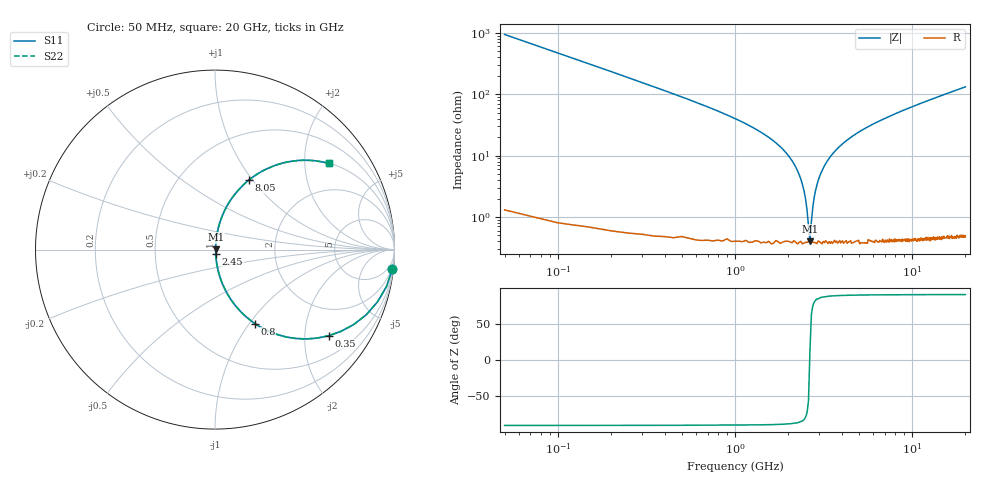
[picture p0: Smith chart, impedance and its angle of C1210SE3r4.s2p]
! AVX Thin Film Operation		Date: April 2012
! Description: Accu-P® Series, Thin Film, SMD, RF Capacitor
! Part Number: 12101J3R4ABTTR
!	100	MHz	-	20.05	GHz
!	Serial	Measurements
#	MHZ	S	MA	R	50
!	S11	S21	S12	S22
!	dB	Phase	dB	Phase	dB	Phase	dB	Phase
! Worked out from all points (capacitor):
!   400 points, 50 MHz to 20 GHz, reference 50 ohm
!   read as one part in series: C = 3.4 pF near 150 MHz
!   lowest |Z| = 405 mohm at 2.65 GHz (marker M1)
!   series resonance near 2.644 GHz, so ESL is about 1.1 nH
!   S11 on the Smith chart (normalised r, x): 50 MHz: 1, -19; 350 MHz: 1.01, -2.63; 800 MHz: 1.01, -1.06; 2.45 GHz: 1.01, -0.05; 8.05 GHz: 1.01, +0.96; 20 GHz: 1.01, +2.63
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50  0.994 -6.1  0.106 83.8  0.106 83.8  0.994 -6.1
100  0.978 -12.1  0.209 77.8  0.209 77.8  0.978 -12.1
150  0.951 -17.8  0.306 72.1  0.306 72.1  0.951 -17.8
350  0.794 -37.2  0.605 52.6  0.605 52.6  0.794 -37.2
800  0.468 -61.7  0.88 27.9  0.88 27.9  0.468 -61.7
1250  0.278 -73.1  0.957 16.2  0.957 16.2  0.278 -73.1
1900  0.118 -81.4  0.989 6.8  0.989 6.8  0.118 -81.4
2250  0.057 -82.8  0.995 3.3  0.995 3.3  0.057 -82.8
2450  0.027 -80.2  0.996 1.5  0.996 1.5  0.027 -80.2
2550  0.013 -72.3  0.996 0.7  0.996 0.7  0.013 -72.3
2650  0.003969 12.5  0.996 -0.0  0.996 -0.0  0.003969 12.5
2750  0.014 73.7  0.996 -0.8  0.996 -0.8  0.014 73.7
2850  0.027 80.2  0.996 -1.5  0.996 -1.5  0.027 80.2
3050  0.051 82.7  0.995 -2.9  0.995 -2.9  0.051 82.7
3400  0.089 82.4  0.992 -5.1  0.992 -5.1  0.089 82.4
4650  0.206 77.1  0.975 -11.9  0.975 -11.9  0.206 77.1
6700  0.353 68.7  0.932 -20.7  0.932 -20.7  0.353 68.7
8050  0.432 63.9  0.898 -25.6  0.898 -25.6  0.432 63.9
10050  0.529 57.6  0.845 -32.0  0.845 -32.0  0.529 57.6
13350  0.65 49.2  0.757 -40.5  0.757 -40.5  0.65 49.2
16700  0.735 42.4  0.674 -47.3  0.674 -47.3  0.735 42.4
20000  0.795 37.1  0.604 -52.6  0.604 -52.6  0.795 37.1
